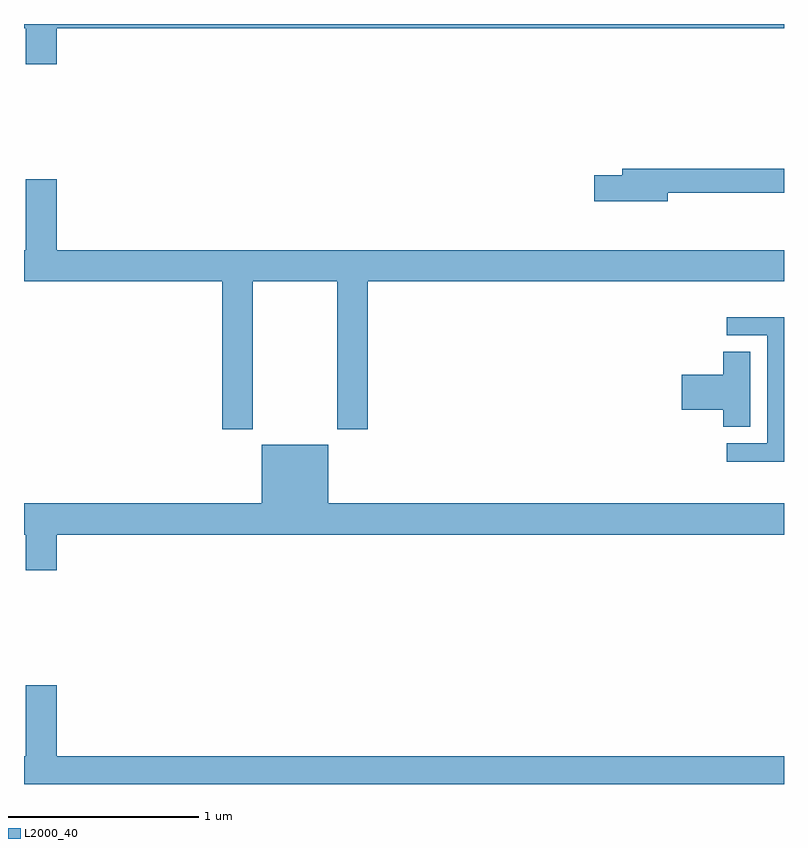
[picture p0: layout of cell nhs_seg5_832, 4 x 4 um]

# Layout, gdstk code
import gdstk
lib = gdstk.Library(unit=1e-6, precision=1e-09)
def P(c, l, *ps):  # polygons
    for p in ps: c.add(gdstk.Polygon(p, *l))
L2000_40 = (2000, 40)

nhs_seg5_832 = lib.new_cell('nhs_seg5_832')
P(nhs_seg5_832, L2000_40, [(165.172,840.776),(169,840.776),(169,840.799),(165,840.799),(165,840.776),(165.008,840.776),(165.008,840.588),(165.172,840.588)],
  [(168.388,839.91),(169,839.91),(169,840.038),(168.149,840.038),(168.149,840.002),(168,840.002),(168,839.867),(168.388,839.867)],
  [(166.203,839.444),(166.648,839.444),(166.648,838.665),(166.808,838.665),(166.808,839.444),(169,839.444),(169,839.608),(165.172,839.608),(165.172,839.983),(165.008,839.983),(165.008,839.608),(165,839.608),(165,839.444),(166.043,839.444),(166.043,838.665),(166.203,838.665)],
  [(169,839.256),(168.699,839.256),(168.699,839.16),(168.912,839.16),(168.912,838.593),(168.699,838.593),(168.699,838.495),(169,838.495)],
  [(168.823,839.075),(168.68,839.075),(168.68,838.952),(168.462,838.952),(168.462,838.769),(168.68,838.769),(168.68,838.678),(168.823,838.678)],
  [(165.172,838.112),(169,838.112),(169,838.276),(166.6,838.276),(166.6,838.585),(166.25,838.585),(166.25,838.276),(165,838.276),(165,838.112),(165.008,838.112),(165.008,837.924),(165.172,837.924)],
  [(169,836.944),(165.172,836.944),(165.172,837.319),(165.008,837.319),(165.008,836.944),(165,836.944),(165,836.799),(169,836.799)])

lib.write_gds('nhs_seg5_832.gds')
